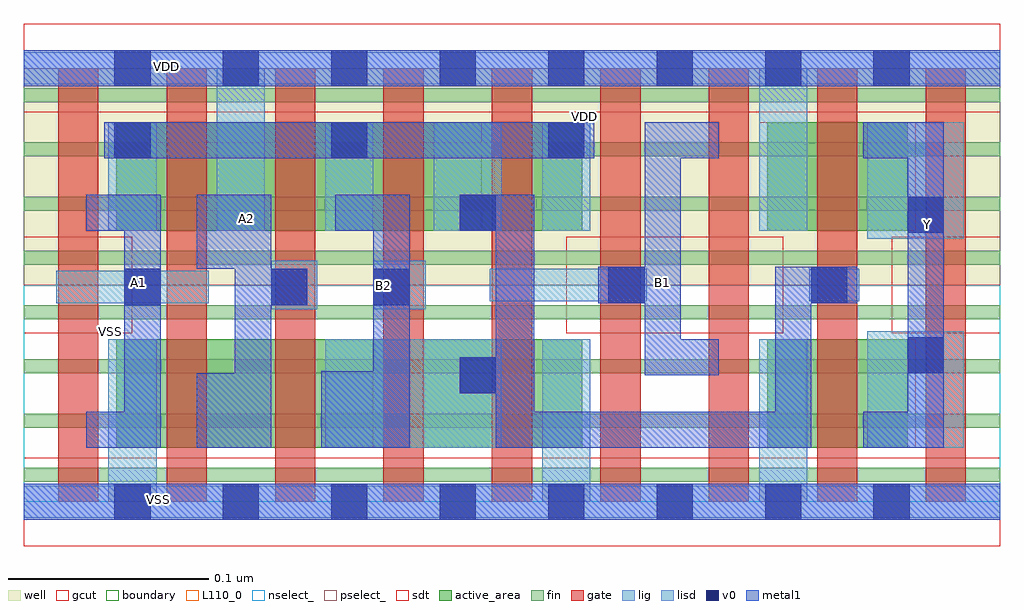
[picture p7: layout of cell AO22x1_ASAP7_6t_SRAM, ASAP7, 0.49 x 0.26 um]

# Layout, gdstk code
import gdstk
lib = gdstk.Library(unit=1e-6, precision=2.5e-10)
def R(c, l, rs):  # rectangles x0, y0, x1, y1
    for r in rs: c.add(gdstk.rectangle(r[:2], r[2:], *l))
def A(c, l, x, y, w, h, nx, ny, dx, dy):  # array of equal rectangles
    R(c, l, [(x+i*dx, y+j*dy, x+i*dx+w, y+j*dy+h) for i in range(nx) for j in range(ny)])
def P(c, l, *ps):  # polygons
    for p in ps: c.add(gdstk.Polygon(p, *l))
well = (1, 0)
fin = (2, 0)
gate = (7, 0)
gcut = (10, 0)
active_area = (11, 0)
nselect_ = (12, 0)
pselect_ = (13, 0)
lig = (16, 0)
lisd = (17, 0)
v0 = (18, 0)
metal1 = (19, 0)
sdt = (88, 0)
boundary = (100, 0)
L110_0 = (110, 0)

ao22x1_asap7_6t_sram = lib.new_cell('AO22x1_ASAP7_6t_SRAM')
R(ao22x1_asap7_6t_sram, well, [(0,0.108,0.486,0.216)])
A(ao22x1_asap7_6t_sram, fin, 0, 0.01, 0.486, 0.007, 1, 7, 0, 0.027)
R(ao22x1_asap7_6t_sram, fin, [(0,0.172,0.486,0.179), (0,0.199,0.486,0.206), (0,0.199,0.486,0.206)])
A(ao22x1_asap7_6t_sram, gate, 0.017, 0, 0.02, 0.216, 8, 1, 0.054, 0)
R(ao22x1_asap7_6t_sram, gate, [(0.395,0,0.415,0.216), (0.449,0,0.469,0.216)])
R(ao22x1_asap7_6t_sram, gcut, [(0,-0.022,0.486,0.022), (0,0.084,0.054,0.132), (0.27,0.084,0.378,0.132), (0.432,0.084,0.486,0.132), (0,0.194,0.486,0.238)])
R(ao22x1_asap7_6t_sram, active_area, [(0.046,0.027,0.278,0.081), (0.37,0.027,0.44,0.081), (0.046,0.135,0.278,0.189), (0.37,0.135,0.44,0.189)])
R(ao22x1_asap7_6t_sram, nselect_, [(0,0,0.486,0.108)])
R(ao22x1_asap7_6t_sram, pselect_, [(0,0.108,0.486,0.216)])
R(ao22x1_asap7_6t_sram, lig, [(0,-0.008,0.486,0.008), (0.123,0.096,0.146,0.12), (0.174,0.096,0.2,0.12), (0.016,0.099,0.092,0.115), (0.232,0.1,0.31,0.116), (0.391,0.1,0.416,0.116), (0,0.208,0.486,0.224)])
A(ao22x1_asap7_6t_sram, lisd, 0.042, 0.135, 0.024, 0.054, 3, 1, 0.108, 0)
R(ao22x1_asap7_6t_sram, lisd, [(0.042,0,0.066,0.081), (0.258,0,0.282,0.081), (0.366,0,0.39,0.081), (0.15,0.027,0.238,0.081), (0.42,0.027,0.468,0.085), (0.42,0.131,0.468,0.189), (0.096,0.135,0.12,0.216), (0.204,0.135,0.238,0.189), (0.366,0.135,0.39,0.216)])
A(ao22x1_asap7_6t_sram, v0, 0.045, -0.009, 0.018, 0.018, 8, 2, 0.054, 0.216)
A(ao22x1_asap7_6t_sram, v0, 0.045, 0.171, 0.018, 0.018, 3, 1, 0.108, 0)
R(ao22x1_asap7_6t_sram, v0, [(0.217,0.054,0.235,0.072), (0.44,0.064,0.458,0.082), (0.05,0.098,0.068,0.116), (0.123,0.098,0.141,0.116), (0.174,0.098,0.192,0.116), (0.291,0.099,0.309,0.117), (0.392,0.099,0.41,0.117), (0.44,0.134,0.458,0.152), (0.217,0.135,0.235,0.153)])
R(ao22x1_asap7_6t_sram, metal1, [(0,-0.009,0.486,0.009), (0.04,0.171,0.284,0.189), (0,0.207,0.486,0.225)])
P(ao22x1_asap7_6t_sram, metal1, [(0.031,0.135),(0.05,0.135),(0.05,0.045),(0.031,0.045),(0.031,0.027),(0.068,0.027),(0.068,0.153),(0.031,0.153)],
  [(0.346,0.081),(0.327,0.081),(0.327,0.171),(0.346,0.171),(0.346,0.189),(0.309,0.189),(0.309,0.117),(0.286,0.117),(0.286,0.099),(0.309,0.099),(0.309,0.063),(0.346,0.063)],
  [(0.192,0.153),(0.155,0.153),(0.155,0.135),(0.174,0.135),(0.174,0.065),(0.148,0.065),(0.148,0.027),(0.192,0.027)],
  [(0.141,0.116),(0.123,0.116),(0.123,0.153),(0.086,0.153),(0.086,0.116),(0.105,0.116),(0.105,0.064),(0.086,0.064),(0.086,0.027),(0.123,0.027),(0.123,0.098),(0.141,0.098)],
  [(0.458,0.189),(0.418,0.189),(0.418,0.171),(0.44,0.171),(0.44,0.045),(0.418,0.045),(0.418,0.027),(0.458,0.027)],
  [(0.415,0.117),(0.374,0.117),(0.374,0.045),(0.254,0.045),(0.254,0.153),(0.217,0.153),(0.217,0.135),(0.235,0.135),(0.235,0.072),(0.217,0.072),(0.217,0.054),(0.235,0.054),(0.235,0.027),(0.392,0.027),(0.392,0.099),(0.415,0.099)])
A(ao22x1_asap7_6t_sram, sdt, 0.042, 0.027, 0.024, 0.054, 4, 1, 0.108, 0)
A(ao22x1_asap7_6t_sram, sdt, 0.042, 0.135, 0.024, 0.054, 5, 1, 0.054, 0)
R(ao22x1_asap7_6t_sram, sdt, [(0.42,0.027,0.444,0.081), (0.42,0.027,0.444,0.081), (0.366,0.135,0.39,0.189), (0.42,0.135,0.444,0.189), (0.42,0.135,0.444,0.189)])
R(ao22x1_asap7_6t_sram, boundary, [(0,0,0.486,0.216)])
R(ao22x1_asap7_6t_sram, L110_0, [(0,0,0.486,0.216)])
ao22x1_asap7_6t_sram.add(gdstk.Label('VDD', (0.279,0.192), layer=1, texttype=251))
ao22x1_asap7_6t_sram.add(gdstk.Label('A2', (0.111,0.141), layer=19, texttype=251))
ao22x1_asap7_6t_sram.add(gdstk.Label('Y', (0.45,0.138), layer=19, texttype=251))
ao22x1_asap7_6t_sram.add(gdstk.Label('VSS', (0.067,0.001), layer=19, texttype=251))
ao22x1_asap7_6t_sram.add(gdstk.Label('VDD', (0.071,0.217), layer=19, texttype=251))
ao22x1_asap7_6t_sram.add(gdstk.Label('A1', (0.057,0.109), layer=19, texttype=251))
ao22x1_asap7_6t_sram.add(gdstk.Label('B1', (0.318,0.109), layer=19, texttype=251))
ao22x1_asap7_6t_sram.add(gdstk.Label('B2', (0.179,0.108), layer=19, texttype=251))
ao22x1_asap7_6t_sram.add(gdstk.Label('VSS', (0.043,0.085), layer=3, texttype=251))

lib.write_gds('AO22x1_ASAP7_6t_SRAM.gds')
